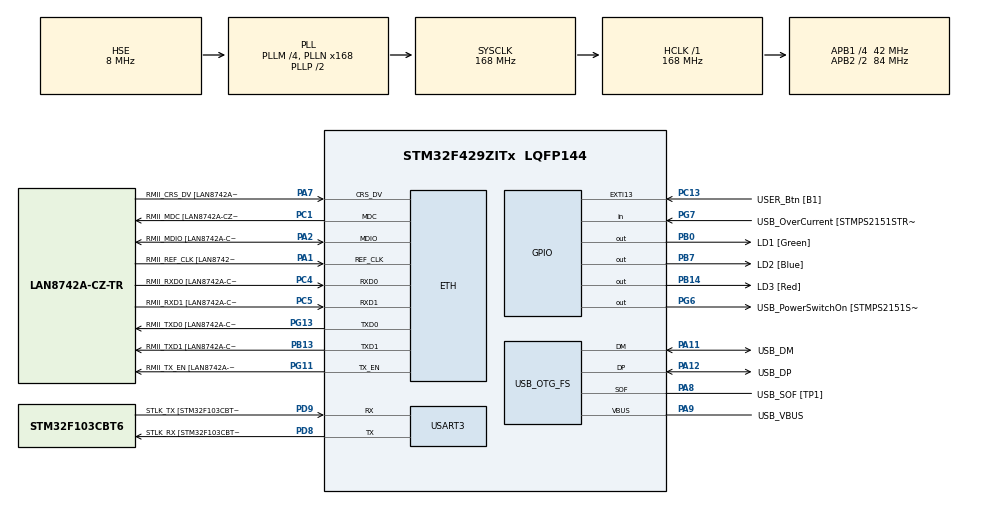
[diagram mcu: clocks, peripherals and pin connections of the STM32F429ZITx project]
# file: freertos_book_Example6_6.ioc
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ETH.MediaInterface=HAL_ETH_RMII_MODE
ETH.PHY_Name=LAN8742A_PHY_ADDRESS
ETH.PHY_Value=0
ETH.PhyAddress=0
FREERTOS.HEAP_NUMBER=4
FREERTOS.INCLUDE_vTaskDelayUntil=1
FREERTOS.MEMORY_ALLOCATION=0
FREERTOS.Tasks01=TaskLed,0,1000,vTaskLed_,Default,NULL,Dynamic,NULL,NULL;TaskButton,0,1000,vTaskButton_,Default,NULL,Dynamic,NULL,NULL
FREERTOS.configTOTAL_HEAP_SIZE=15360
FREERTOS.configUSE_COUNTING_SEMAPHORES=1
FREERTOS.configUSE_NEWLIB_REENTRANT=1
Mcu.Family=STM32F4
Mcu.Name=STM32F429ZITx
Mcu.Package=LQFP144
NVIC.PriorityGroup=NVIC_PRIORITYGROUP_4
NVIC.TIM7_IRQn=true\:15\:0\:false\:false\:true\:false\:false\:true\:true
NVIC.TimeBase=TIM7_IRQn
NVIC.TimeBaseIP=TIM7
PA1.GPIO_Label=RMII_REF_CLK [LAN8742A-CZ-TR_REFCLK0]
PA1.Mode=RMII
PA1.Signal=ETH_REF_CLK
PA10.GPIO_Label=USB_ID
PA10.Signal=USB_OTG_FS_ID
PA11.GPIO_Label=USB_DM
PA11.Mode=Device_Only
PA11.Signal=USB_OTG_FS_DM
PA12.GPIO_Label=USB_DP
PA12.Mode=Device_Only
PA12.Signal=USB_OTG_FS_DP
PA13.GPIO_Label=TMS
PA13.Mode=Serial_Wire
PA13.Signal=SYS_JTMS-SWDIO
PA14.GPIO_Label=TCK
PA14.Mode=Serial_Wire
PA14.Signal=SYS_JTCK-SWCLK
PA2.GPIO_Label=RMII_MDIO [LAN8742A-CZ-TR_MDIO]
PA2.Mode=RMII
PA2.Signal=ETH_MDIO
PA7.GPIO_Label=RMII_CRS_DV [LAN8742A-CZ-TR_CRS_DV]
PA7.Mode=RMII
PA7.Signal=ETH_CRS_DV
PA8.GPIO_Label=USB_SOF [TP1]
PA8.Mode=Activate_SOF_FS
PA8.Signal=USB_OTG_FS_SOF
PA9.GPIO_Label=USB_VBUS
PA9.Mode=Activate_VBUS
PA9.Signal=USB_OTG_FS_VBUS
PB0.GPIO_Label=LD1 [Green]
PB0.Signal=GPIO_Output
PB13.GPIO_Label=RMII_TXD1 [LAN8742A-CZ-TR_TXD1]
PB13.Mode=RMII
PB13.Signal=ETH_TXD1
PB14.GPIO_Label=LD3 [Red]
PB14.Signal=GPIO_Output
PB7.GPIO_Label=LD2 [Blue]
PB7.Signal=GPIO_Output
PC1.GPIO_Label=RMII_MDC [LAN8742A-CZ-TR_MDC]
PC1.Mode=RMII
PC1.Signal=ETH_MDC
PC13.GPIO_Label=USER_Btn [B1]
PC13.Signal=GPXTI13
PC14/OSC32_IN.Mode=LSE-External-Oscillator
PC14/OSC32_IN.Signal=RCC_OSC32_IN
PC15/OSC32_OUT.Mode=LSE-External-Oscillator
PC15/OSC32_OUT.Signal=RCC_OSC32_OUT
PC4.GPIO_Label=RMII_RXD0 [LAN8742A-CZ-TR_RXD0]
PC4.Mode=RMII
PC4.Signal=ETH_RXD0
PC5.GPIO_Label=RMII_RXD1 [LAN8742A-CZ-TR_RXD1]
PC5.Mode=RMII
PC5.Signal=ETH_RXD1
PD8.GPIO_Label=STLK_RX [STM32F103CBT6_PA3]
PD8.Mode=Asynchronous
PD8.Signal=USART3_TX
PD9.GPIO_Label=STLK_TX [STM32F103CBT6_PA2]
PD9.Mode=Asynchronous
PD9.Signal=USART3_RX
PG11.GPIO_Label=RMII_TX_EN [LAN8742A-CZ-TR_TXEN]
PG11.Mode=RMII
PG11.Signal=ETH_TX_EN
PG13.GPIO_Label=RMII_TXD0 [LAN8742A-CZ-TR_TXD0]
PG13.Mode=RMII
PG13.Signal=ETH_TXD0
PG6.GPIO_Label=USB_PowerSwitchOn [STMPS2151STR_EN]
PG6.Signal=GPIO_Output
PG7.GPIO_Label=USB_OverCurrent [STMPS2151STR_FAULT]
PG7.Signal=GPIO_Input
PH0/OSC_IN.GPIO_Label=MCO [STM32F103CBT6_PA8]
PH0/OSC_IN.Mode=HSE-External-Clock-Source
PH0/OSC_IN.Signal=RCC_OSC_IN
PH1/OSC_OUT.Mode=HSE-External-Clock-Source
PH1/OSC_OUT.Signal=RCC_OSC_OUT
ProjectManager.HeapSize=0x200
ProjectManager.StackSize=0x400
ProjectManager.TargetToolchain=STM32CubeIDE
RCC.48MHZClocksFreq_Value=48000000
RCC.AHBFreq_Value=168000000
RCC.APB1CLKDivider=RCC_HCLK_DIV4
RCC.APB1Freq_Value=42000000
RCC.APB1TimFreq_Value=84000000
RCC.APB2CLKDivider=RCC_HCLK_DIV2
RCC.APB2Freq_Value=84000000
RCC.APB2TimCLKDivider=2
RCC.APB2TimFreq_Value=168000000
RCC.CortexFreq_Value=168000000
RCC.HCLKFreq_Value=168000000
RCC.HSE_VALUE=8000000
RCC.HSI_VALUE=16000000
RCC.PLLM=4
RCC.PLLMUL=RCC_PLL_MUL9
RCC.PLLN=168
RCC.PLLQ=7
RCC.PRESCALERUSB=RCC_USBCLKSOURCE_PLL_DIV1_5
RCC.SYSCLKFreq_VALUE=168000000
RCC.SYSCLKSource=RCC_SYSCLKSOURCE_PLLCLK
RCC.SYSCLKSourceVirtual=RCC_SYSCLKSOURCE_PLLCLK
RCC.USBFreq_Value=48000000
RCC.VCOOutputFreq_Value=336000000
USART3.VirtualMode=VM_ASYNC
USB_OTG_FS.VirtualMode=Device_Only
VP_FREERTOS_VS_CMSIS_V1.Mode=CMSIS_V1
VP_SYS_VS_tim7.Mode=TIM7
board=NUCLEO-F429ZI

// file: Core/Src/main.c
/* USER CODE BEGIN Header */
/**
  ******************************************************************************
  * @file           : main.c
  * @brief          : Main program body
  ******************************************************************************
  * @attention
  *
  * Copyright (c) 2022 STMicroelectronics.
  * All rights reserved.
  *
  * This software is licensed under terms that can be found in the LICENSE file
  * in the root directory of this software component.
  * If no LICENSE file comes with this software, it is provided AS-IS.
  *
  ******************************************************************************
  */
/* USER CODE END Header */
#include "main.h"
#include "string.h"
#include "cmsis_os.h"

/* USER CODE BEGIN Includes */
/* Standard includes. */
#include <stdio.h>
#include <stdlib.h>

/* Demo includes. */
#include "supportingFunctions.h"

/* Application includes. */
#include "taskLed.h"
#include "taskButton.h"

/* USER CODE END Includes */

ETH_TxPacketConfig TxConfig;
ETH_DMADescTypeDef  DMARxDscrTab[ETH_RX_DESC_CNT]; /* Ethernet Rx DMA Descriptors */
ETH_DMADescTypeDef  DMATxDscrTab[ETH_TX_DESC_CNT]; /* Ethernet Tx DMA Descriptors */

 ETH_HandleTypeDef heth;

UART_HandleTypeDef huart3;

PCD_HandleTypeDef hpcd_USB_OTG_FS;

osThreadId TaskLedHandle;
osThreadId TaskButtonHandle;

/* USER CODE BEGIN PV */
#if( TASKS_SCOPE == TASKS_OUTSIDE_MAIN)
SemaphoreHandle_t xMutex;
ledFlag_t ledBlinkingFlag;
extern LDX_Config_t LDX_Config[];
extern void vTaskLed(void const * argument);
extern void vTaskButton(void const * argument);
#endif

/* USER CODE END PV */

void SystemClock_Config(void);
static void MX_GPIO_Init(void);
static void MX_ETH_Init(void);
static void MX_USART3_UART_Init(void);
static void MX_USB_OTG_FS_PCD_Init(void);
void vTaskLed_(void const * argument);
void vTaskButton_(void const * argument);

/* USER CODE BEGIN PFP */
/* Declare a variable of type xSemaphoreHandle.  This is used to reference the
 * semaphore that is used to synchronize a task with other task. */
SemaphoreHandle_t BinarySemaphoreHandle;

/* USER CODE END PFP */

int main(void)
{
  /* USER CODE BEGIN 1 */
	const char *pcTextForMain = "freertos_book_Example6_6 is running: PO (6 de 6)\r\n\n";

#if( TASKS_SCOPE == TASKS_OUTSIDE_MAIN)
	LDX_Config_t* ptr;
#endif

  /* USER CODE END 1 */

  /* MCU Configuration--------------------------------------------------------*/

  /* Reset of all peripherals, Initializes the Flash interface and the Systick. */
  HAL_Init();

  /* Configure the system clock */
  SystemClock_Config();

  /* Initialize all configured peripherals */
  MX_GPIO_Init();
  MX_ETH_Init();
  MX_USART3_UART_Init();
  MX_USB_OTG_FS_PCD_Init();
  /* USER CODE BEGIN 2 */
	/* Print out the name of this Example. */
	vPrintString( pcTextForMain );

#if( TASKS_SCOPE == TASKS_OUTSIDE_MAIN)

	xMutex=xSemaphoreCreateMutex();

	  /* Create the thread(s) */
	  /* definition and creation of Task Led */
	  ptr = &LDX_Config[0];
	  osThreadDef(TaskLed, vTaskLed, osPriorityNormal, 0, 1000);
	  TaskLedHandle = osThreadCreate(osThread(TaskLed), (void*) ptr);

	  /* Check the task was created successfully */
	  configASSERT( TaskLedHandle != NULL );

	  /* definition and creation of Task Button */
	  ptr = &LDX_Config[0];
	  osThreadDef(TaskButton, vTaskButton, osPriorityNormal, 0, 1000);
	  TaskButtonHandle = osThreadCreate(osThread(TaskButton), (void*) ptr);

	  /* Check the task was created successfully */
	  configASSERT( TaskButtonHandle != NULL );
#endif

  /* USER CODE END 2 */

  /* USER CODE BEGIN RTOS_SEMAPHORES */
  /* add semaphores, ... */
	/* The binary semaphore is created. */
	vSemaphoreCreateBinary( BinarySemaphoreHandle );

    /* Check the queues was created successfully */
	configASSERT( BinarySemaphoreHandle != NULL );

  /* USER CODE END RTOS_SEMAPHORES */

  /* USER CODE BEGIN RTOS_QUEUES */
  /* add queues, ... */

#if( TASKS_SCOPE == TASKS_INSIDE_MAIN)
  /* USER CODE END RTOS_QUEUES */

  /* Create the thread(s) */
  /* definition and creation of TaskLed */
  osThreadDef(TaskLed, vTaskLed_, osPriorityNormal, 0, 1000);
  TaskLedHandle = osThreadCreate(osThread(TaskLed), NULL);

  /* definition and creation of TaskButton */
  osThreadDef(TaskButton, vTaskButton_, osPriorityNormal, 0, 1000);
  TaskButtonHandle = osThreadCreate(osThread(TaskButton), NULL);

  /* USER CODE BEGIN RTOS_THREADS */
  /* add threads, ... */
#endif
  /* USER CODE END RTOS_THREADS */

  /* Start scheduler */
  osKernelStart();

  /* We should never get here as control is now taken by the scheduler */
  /* Infinite loop */
  while (1)
  {

  }
}

void SystemClock_Config(void)
{
  RCC_OscInitTypeDef RCC_OscInitStruct = {0};
  RCC_ClkInitTypeDef RCC_ClkInitStruct = {0};

  /** Configure the main internal regulator output voltage
  */
  __HAL_RCC_PWR_CLK_ENABLE();
  __HAL_PWR_VOLTAGESCALING_CONFIG(PWR_REGULATOR_VOLTAGE_SCALE1);

  /** Initializes the RCC Oscillators according to the specified parameters
  * in the RCC_OscInitTypeDef structure.
  */
  RCC_OscInitStruct.OscillatorType = RCC_OSCILLATORTYPE_HSE;
  RCC_OscInitStruct.HSEState = RCC_HSE_BYPASS;
  RCC_OscInitStruct.PLL.PLLState = RCC_PLL_ON;
  RCC_OscInitStruct.PLL.PLLSource = RCC_PLLSOURCE_HSE;
  RCC_OscInitStruct.PLL.PLLM = 4;
  RCC_OscInitStruct.PLL.PLLN = 168;
  RCC_OscInitStruct.PLL.PLLP = RCC_PLLP_DIV2;
  RCC_OscInitStruct.PLL.PLLQ = 7;
  if (HAL_RCC_OscConfig(&RCC_OscInitStruct) != HAL_OK)
  {
    Error_Handler();
  }

  /** Initializes the CPU, AHB and APB buses clocks
  */
  RCC_ClkInitStruct.ClockType = RCC_CLOCKTYPE_HCLK|RCC_CLOCKTYPE_SYSCLK
                              |RCC_CLOCKTYPE_PCLK1|RCC_CLOCKTYPE_PCLK2;
  RCC_ClkInitStruct.SYSCLKSource = RCC_SYSCLKSOURCE_PLLCLK;
  RCC_ClkInitStruct.AHBCLKDivider = RCC_SYSCLK_DIV1;
  RCC_ClkInitStruct.APB1CLKDivider = RCC_HCLK_DIV4;
  RCC_ClkInitStruct.APB2CLKDivider = RCC_HCLK_DIV2;

  if (HAL_RCC_ClockConfig(&RCC_ClkInitStruct, FLASH_LATENCY_5) != HAL_OK)
  {
    Error_Handler();
  }
}

static void MX_ETH_Init(void)
{

   static uint8_t MACAddr[6];

  heth.Instance = ETH;
  MACAddr[0] = 0x00;
  MACAddr[1] = 0x80;
  MACAddr[2] = 0xE1;
  MACAddr[3] = 0x00;
  MACAddr[4] = 0x00;
  MACAddr[5] = 0x00;
  heth.Init.MACAddr = &MACAddr[0];
  heth.Init.MediaInterface = HAL_ETH_RMII_MODE;
  heth.Init.TxDesc = DMATxDscrTab;
  heth.Init.RxDesc = DMARxDscrTab;
  heth.Init.RxBuffLen = 1524;

  if (HAL_ETH_Init(&heth) != HAL_OK)
  {
    Error_Handler();
  }

  memset(&TxConfig, 0 , sizeof(ETH_TxPacketConfig));
  TxConfig.Attributes = ETH_TX_PACKETS_FEATURES_CSUM | ETH_TX_PACKETS_FEATURES_CRCPAD;
  TxConfig.ChecksumCtrl = ETH_CHECKSUM_IPHDR_PAYLOAD_INSERT_PHDR_CALC;
  TxConfig.CRCPadCtrl = ETH_CRC_PAD_INSERT;

}

static void MX_USART3_UART_Init(void)
{

  huart3.Instance = USART3;
  huart3.Init.BaudRate = 115200;
  huart3.Init.WordLength = UART_WORDLENGTH_8B;
  huart3.Init.StopBits = UART_STOPBITS_1;
  huart3.Init.Parity = UART_PARITY_NONE;
  huart3.Init.Mode = UART_MODE_TX_RX;
  huart3.Init.HwFlowCtl = UART_HWCONTROL_NONE;
  huart3.Init.OverSampling = UART_OVERSAMPLING_16;
  if (HAL_UART_Init(&huart3) != HAL_OK)
  {
    Error_Handler();
  }

}

static void MX_USB_OTG_FS_PCD_Init(void)
{

  hpcd_USB_OTG_FS.Instance = USB_OTG_FS;
  hpcd_USB_OTG_FS.Init.dev_endpoints = 4;
  hpcd_USB_OTG_FS.Init.speed = PCD_SPEED_FULL;
  hpcd_USB_OTG_FS.Init.dma_enable = DISABLE;
  hpcd_USB_OTG_FS.Init.phy_itface = PCD_PHY_EMBEDDED;
  hpcd_USB_OTG_FS.Init.Sof_enable = ENABLE;
  hpcd_USB_OTG_FS.Init.low_power_enable = DISABLE;
  hpcd_USB_OTG_FS.Init.lpm_enable = DISABLE;
  hpcd_USB_OTG_FS.Init.vbus_sensing_enable = ENABLE;
  hpcd_USB_OTG_FS.Init.use_dedicated_ep1 = DISABLE;
  if (HAL_PCD_Init(&hpcd_USB_OTG_FS) != HAL_OK)
  {
    Error_Handler();
  }

}

static void MX_GPIO_Init(void)
{
  GPIO_InitTypeDef GPIO_InitStruct = {0};

  /* GPIO Ports Clock Enable */
  __HAL_RCC_GPIOC_CLK_ENABLE();
  __HAL_RCC_GPIOH_CLK_ENABLE();
  __HAL_RCC_GPIOA_CLK_ENABLE();
  __HAL_RCC_GPIOB_CLK_ENABLE();
  __HAL_RCC_GPIOD_CLK_ENABLE();
  __HAL_RCC_GPIOG_CLK_ENABLE();

  /*Configure GPIO pin Output Level */
  HAL_GPIO_WritePin(GPIOB, LD1_Pin|LD3_Pin|LD2_Pin, GPIO_PIN_RESET);

  /*Configure GPIO pin Output Level */
  HAL_GPIO_WritePin(USB_PowerSwitchOn_GPIO_Port, USB_PowerSwitchOn_Pin, GPIO_PIN_RESET);

  /*Configure GPIO pin : USER_Btn_Pin */
  GPIO_InitStruct.Pin = USER_Btn_Pin;
  GPIO_InitStruct.Mode = GPIO_MODE_IT_RISING;
  GPIO_InitStruct.Pull = GPIO_NOPULL;
  HAL_GPIO_Init(USER_Btn_GPIO_Port, &GPIO_InitStruct);

  /*Configure GPIO pins : LD1_Pin LD3_Pin LD2_Pin */
  GPIO_InitStruct.Pin = LD1_Pin|LD3_Pin|LD2_Pin;
  GPIO_InitStruct.Mode = GPIO_MODE_OUTPUT_PP;
  GPIO_InitStruct.Pull = GPIO_NOPULL;
  GPIO_InitStruct.Speed = GPIO_SPEED_FREQ_LOW;
  HAL_GPIO_Init(GPIOB, &GPIO_InitStruct);

  /*Configure GPIO pin : USB_PowerSwitchOn_Pin */
  GPIO_InitStruct.Pin = USB_PowerSwitchOn_Pin;
  GPIO_InitStruct.Mode = GPIO_MODE_OUTPUT_PP;
  GPIO_InitStruct.Pull = GPIO_NOPULL;
  GPIO_InitStruct.Speed = GPIO_SPEED_FREQ_LOW;
  HAL_GPIO_Init(USB_PowerSwitchOn_GPIO_Port, &GPIO_InitStruct);

  /*Configure GPIO pin : USB_OverCurrent_Pin */
  GPIO_InitStruct.Pin = USB_OverCurrent_Pin;
  GPIO_InitStruct.Mode = GPIO_MODE_INPUT;
  GPIO_InitStruct.Pull = GPIO_NOPULL;
  HAL_GPIO_Init(USB_OverCurrent_GPIO_Port, &GPIO_InitStruct);

}

void vTaskLed_(void const * argument)
{
  /* USER CODE BEGIN 5 */
	char *pcTaskName;

	/* Print out the name of this task. */
	pcTaskName = ( char * ) pcTaskGetName( NULL );
	vPrintTwoStrings(pcTaskName, "- is running\r\n" );

	/* Infinite loop */
	for(;;)
	{
		osDelay(1);
	}
  /* USER CODE END 5 */
}

void vTaskButton_(void const * argument)
{
  /* USER CODE BEGIN vTaskButton_ */
	char *pcTaskName;

	/* Print out the name of this task. */
	pcTaskName = ( char * ) pcTaskGetName( NULL );
	vPrintTwoStrings(pcTaskName, "- is running\r\n" );

	/* Infinite loop */
	for(;;)
	{
		osDelay(1);
	}
  /* USER CODE END vTaskButton_ */
}

void HAL_TIM_PeriodElapsedCallback(TIM_HandleTypeDef *htim)
{
  if (htim->Instance == TIM7) {
    HAL_IncTick();
  }
}

void Error_Handler(void)
{
  __disable_irq();
  while (1)
  {
  }
}
